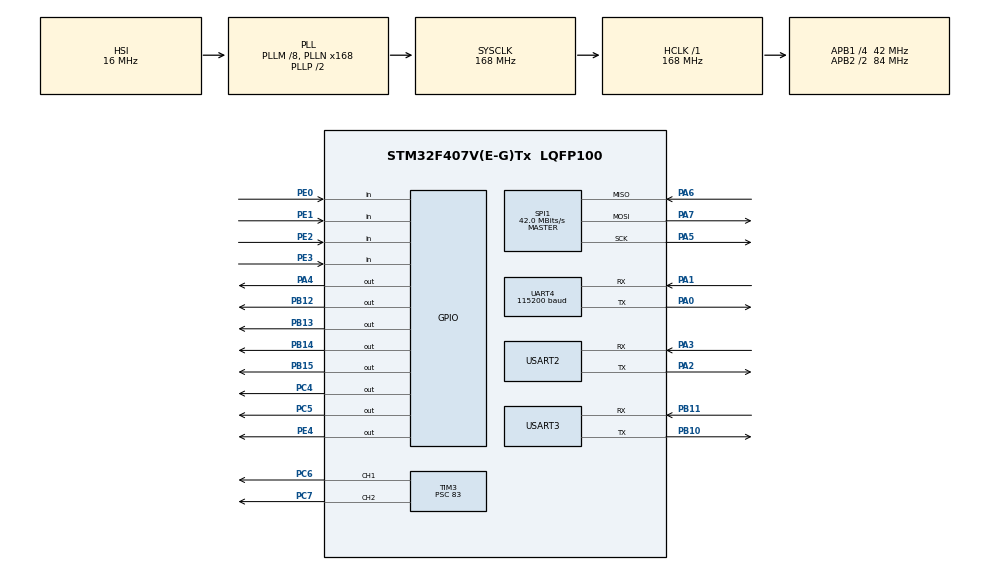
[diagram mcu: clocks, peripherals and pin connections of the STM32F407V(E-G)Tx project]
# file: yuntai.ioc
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Mcu.Family=STM32F4
Mcu.Name=STM32F407V(E-G)Tx
Mcu.Package=LQFP100
NVIC.PriorityGroup=NVIC_PRIORITYGROUP_4
NVIC.TIM1_UP_TIM10_IRQn=true\:0\:0\:false\:false\:true\:true\:true\:true
NVIC.UART4_IRQn=true\:0\:0\:false\:false\:true\:true\:true\:true
PA0-WKUP.Mode=Asynchronous
PA0-WKUP.Signal=UART4_TX
PA1.Mode=Asynchronous
PA1.Signal=UART4_RX
PA13.Mode=Serial_Wire
PA13.Signal=SYS_JTMS-SWDIO
PA14.Mode=Serial_Wire
PA14.Signal=SYS_JTCK-SWCLK
PA2.Mode=Asynchronous
PA2.Signal=USART2_TX
PA3.Mode=Asynchronous
PA3.Signal=USART2_RX
PA4.GPIO_Speed=GPIO_SPEED_FREQ_HIGH
PA4.Signal=GPIO_Output
PA5.Mode=Full_Duplex_Master
PA5.Signal=SPI1_SCK
PA6.Mode=Full_Duplex_Master
PA6.Signal=SPI1_MISO
PA7.Mode=Full_Duplex_Master
PA7.Signal=SPI1_MOSI
PB10.Mode=Asynchronous
PB10.Signal=USART3_TX
PB11.Mode=Asynchronous
PB11.Signal=USART3_RX
PB12.GPIO_Speed=GPIO_SPEED_FREQ_HIGH
PB12.Signal=GPIO_Output
PB13.GPIO_Speed=GPIO_SPEED_FREQ_HIGH
PB13.Signal=GPIO_Output
PB14.GPIO_Speed=GPIO_SPEED_FREQ_HIGH
PB14.Signal=GPIO_Output
PB15.GPIO_Speed=GPIO_SPEED_FREQ_HIGH
PB15.Signal=GPIO_Output
PC4.GPIO_Speed=GPIO_SPEED_FREQ_HIGH
PC4.Signal=GPIO_Output
PC5.GPIO_Speed=GPIO_SPEED_FREQ_HIGH
PC5.Signal=GPIO_Output
PC6.Signal=S_TIM3_CH1
PC7.Signal=S_TIM3_CH2
PE0.GPIO_PuPd=GPIO_PULLUP
PE0.Signal=GPIO_Input
PE1.GPIO_PuPd=GPIO_PULLUP
PE1.Signal=GPIO_Input
PE2.GPIO_PuPd=GPIO_PULLUP
PE2.Signal=GPIO_Input
PE3.GPIO_PuPd=GPIO_PULLUP
PE3.Signal=GPIO_Input
PE4.GPIO_Speed=GPIO_SPEED_FREQ_HIGH
PE4.Signal=GPIO_Output
PH0-OSC_IN.Mode=HSE-External-Oscillator
PH0-OSC_IN.Signal=RCC_OSC_IN
PH1-OSC_OUT.Mode=HSE-External-Oscillator
PH1-OSC_OUT.Signal=RCC_OSC_OUT
ProjectManager.HeapSize=0x200
ProjectManager.StackSize=0x400
ProjectManager.TargetToolchain=MDK-ARM V5.32
RCC.48MHZClocksFreq_Value=84000000
RCC.AHBFreq_Value=168000000
RCC.APB1CLKDivider=RCC_HCLK_DIV4
RCC.APB1Freq_Value=42000000
RCC.APB1TimFreq_Value=84000000
RCC.APB2CLKDivider=RCC_HCLK_DIV2
RCC.APB2Freq_Value=84000000
RCC.APB2TimFreq_Value=168000000
RCC.CortexFreq_Value=168000000
RCC.HCLKFreq_Value=168000000
RCC.HSE_VALUE=8000000
RCC.HSI_VALUE=16000000
RCC.LSE_VALUE=32768
RCC.PLLM=8
RCC.PLLN=168
RCC.SYSCLKFreq_VALUE=168000000
RCC.SYSCLKSource=RCC_SYSCLKSOURCE_PLLCLK
RCC.VCOOutputFreq_Value=336000000
SH.S_TIM3_CH1.0=TIM3_CH1,PWM Generation1 CH1
SH.S_TIM3_CH2.0=TIM3_CH2,PWM Generation2 CH2
SPI1.CalculateBaudRate=42.0 MBits/s
SPI1.Direction=SPI_DIRECTION_2LINES
SPI1.Mode=SPI_MODE_MASTER
SPI1.VirtualType=VM_MASTER
TIM1.AutoReloadPreload=TIM_AUTORELOAD_PRELOAD_ENABLE
TIM1.Period=1000
TIM1.Prescaler=167
TIM3.Channel-PWM\ Generation1\ CH1=TIM_CHANNEL_1
TIM3.Channel-PWM\ Generation2\ CH2=TIM_CHANNEL_2
TIM3.OCFastMode_PWM-PWM\ Generation1\ CH1=TIM_OCFAST_ENABLE
TIM3.OCFastMode_PWM-PWM\ Generation2\ CH2=TIM_OCFAST_ENABLE
TIM3.Prescaler=83
UART4.BaudRate=115200
UART4.VirtualMode=Asynchronous
USART2.VirtualMode=VM_ASYNC
USART3.VirtualMode=VM_ASYNC
VP_TIM1_VS_ClockSourceINT.Mode=Internal
VP_TIM3_VS_ClockSourceINT.Mode=Internal
board=custom

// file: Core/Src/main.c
/* USER CODE BEGIN Header */
/**
  ******************************************************************************
  * @file           : main.c
  * @brief          : Main program body
  ******************************************************************************
  * @attention
  *
  * Copyright (c) 2026 STMicroelectronics.
  * All rights reserved.
  *
  * This software is licensed under terms that can be found in the LICENSE file
  * in the root directory of this software component.
  * If no LICENSE file comes with this software, it is provided AS-IS.
  *
  ******************************************************************************
  */
/* USER CODE END Header */
#include "main.h"

/* USER CODE BEGIN Includes */
#include "ili9341.h"
#include "eum.h"
#include "control.h"
#include "opmv.h"
#include "stdio.h"
#include "task.h"
/* USER CODE END Includes */

SPI_HandleTypeDef hspi1;

TIM_HandleTypeDef htim3;

UART_HandleTypeDef huart2;
UART_HandleTypeDef huart3;

void SystemClock_Config(void);
static void MX_GPIO_Init(void);
static void MX_SPI1_Init(void);
static void MX_UART4_Init(void);
static void MX_USART2_UART_Init(void);
static void MX_USART3_UART_Init(void);
static void MX_TIM1_Init(void);
static void MX_TIM3_Init(void);

int main(void)
{

  /* MCU Configuration--------------------------------------------------------*/

  /* Reset of all peripherals, Initializes the Flash interface and the Systick. */
  HAL_Init();

  /* Configure the system clock */
  SystemClock_Config();

  /* Initialize all configured peripherals */
  MX_GPIO_Init();
  MX_SPI1_Init();
  MX_UART4_Init();
  MX_USART2_UART_Init();
  MX_USART3_UART_Init();
  MX_TIM1_Init();
  MX_TIM3_Init();
  /* USER CODE BEGIN 2 */
  ILI9341_Init();
  ILI9341_SetRotation(ILI9341_ROTATION_180);  // 上下翻转 180°
  ILI9341_FillScreen(ILI9341_COLOR_BLACK);

  TMC2209_Init(TMC_MRES_16);      /* 直接初始化为 1/16 微步 */
  UART_Parse_Init();              /* OpenMV UART 解析初始化 */
  task2_state = T2_FIND;          /* task2 状态机初始状态 */

  /* ---- 开机闪屏 ---- */
  ILI9341_DrawString(0, 0, "Hello, OMO Team!",
                     ILI9341_COLOR_GREEN, ILI9341_COLOR_BLACK, 2);
  HAL_Delay(1000);
  ILI9341_FillScreen(ILI9341_COLOR_BLACK);
  /* USER CODE END 2 */

  /* Infinite loop */
  /* USER CODE BEGIN WHILE */
  while (1)
  {
    show_eum();           /* 菜单显示 */
    eum_task_dispatch();  /* 读取K230最新结果并执行任务调度 */
    show_uart_xy();       /* 底部显示 STM32 实际收到的 X/Y */    /* 主循环约200 Hz，串口新帧更快进入任务 */
  }
  /* USER CODE END 3 */
}

void SystemClock_Config(void)
{
  RCC_OscInitTypeDef RCC_OscInitStruct = {0};
  RCC_ClkInitTypeDef RCC_ClkInitStruct = {0};

  /** Configure the main internal regulator output voltage
  */
  __HAL_RCC_PWR_CLK_ENABLE();
  __HAL_PWR_VOLTAGESCALING_CONFIG(PWR_REGULATOR_VOLTAGE_SCALE1);

  /** Initializes the RCC Oscillators according to the specified parameters
  * in the RCC_OscInitTypeDef structure.
  */
  RCC_OscInitStruct.OscillatorType = RCC_OSCILLATORTYPE_HSI;
  RCC_OscInitStruct.HSIState = RCC_HSI_ON;
  RCC_OscInitStruct.HSICalibrationValue = RCC_HSICALIBRATION_DEFAULT;
  RCC_OscInitStruct.PLL.PLLState = RCC_PLL_ON;
  RCC_OscInitStruct.PLL.PLLSource = RCC_PLLSOURCE_HSI;
  RCC_OscInitStruct.PLL.PLLM = 8;
  RCC_OscInitStruct.PLL.PLLN = 168;
  RCC_OscInitStruct.PLL.PLLP = RCC_PLLP_DIV2;
  RCC_OscInitStruct.PLL.PLLQ = 4;
  if (HAL_RCC_OscConfig(&RCC_OscInitStruct) != HAL_OK)
  {
    Error_Handler();
  }

  /** Initializes the CPU, AHB and APB buses clocks
  */
  RCC_ClkInitStruct.ClockType = RCC_CLOCKTYPE_HCLK|RCC_CLOCKTYPE_SYSCLK
                              |RCC_CLOCKTYPE_PCLK1|RCC_CLOCKTYPE_PCLK2;
  RCC_ClkInitStruct.SYSCLKSource = RCC_SYSCLKSOURCE_PLLCLK;
  RCC_ClkInitStruct.AHBCLKDivider = RCC_SYSCLK_DIV1;
  RCC_ClkInitStruct.APB1CLKDivider = RCC_HCLK_DIV4;
  RCC_ClkInitStruct.APB2CLKDivider = RCC_HCLK_DIV2;

  if (HAL_RCC_ClockConfig(&RCC_ClkInitStruct, FLASH_LATENCY_5) != HAL_OK)
  {
    Error_Handler();
  }
}

static void MX_SPI1_Init(void)
{

  /* SPI1 parameter configuration*/
  hspi1.Instance = SPI1;
  hspi1.Init.Mode = SPI_MODE_MASTER;
  hspi1.Init.Direction = SPI_DIRECTION_2LINES;
  hspi1.Init.DataSize = SPI_DATASIZE_8BIT;
  hspi1.Init.CLKPolarity = SPI_POLARITY_LOW;
  hspi1.Init.CLKPhase = SPI_PHASE_1EDGE;
  hspi1.Init.NSS = SPI_NSS_SOFT;
  hspi1.Init.BaudRatePrescaler = SPI_BAUDRATEPRESCALER_8;
  hspi1.Init.FirstBit = SPI_FIRSTBIT_MSB;
  hspi1.Init.TIMode = SPI_TIMODE_DISABLE;
  hspi1.Init.CRCCalculation = SPI_CRCCALCULATION_DISABLE;
  hspi1.Init.CRCPolynomial = 10;
  if (HAL_SPI_Init(&hspi1) != HAL_OK)
  {
    Error_Handler();
  }

}

static void MX_TIM1_Init(void)
{

  LL_TIM_InitTypeDef TIM_InitStruct = {0};

  /* Peripheral clock enable */
  LL_APB2_GRP1_EnableClock(LL_APB2_GRP1_PERIPH_TIM1);

  /* TIM1 interrupt Init */
  NVIC_SetPriority(TIM1_UP_TIM10_IRQn, NVIC_EncodePriority(NVIC_GetPriorityGrouping(),0, 0));
  NVIC_EnableIRQ(TIM1_UP_TIM10_IRQn);

  TIM_InitStruct.Prescaler = 167;
  TIM_InitStruct.CounterMode = LL_TIM_COUNTERMODE_UP;
  TIM_InitStruct.Autoreload = 1000;
  TIM_InitStruct.ClockDivision = LL_TIM_CLOCKDIVISION_DIV1;
  TIM_InitStruct.RepetitionCounter = 0;
  LL_TIM_Init(TIM1, &TIM_InitStruct);
  LL_TIM_EnableARRPreload(TIM1);
  LL_TIM_SetClockSource(TIM1, LL_TIM_CLOCKSOURCE_INTERNAL);
  LL_TIM_SetTriggerOutput(TIM1, LL_TIM_TRGO_RESET);
  LL_TIM_DisableMasterSlaveMode(TIM1);
  /* USER CODE BEGIN TIM1_Init 2 */
  LL_TIM_EnableCounter(TIM1);
  LL_TIM_EnableIT_UPDATE(TIM1);
  /* USER CODE END TIM1_Init 2 */

}

static void MX_TIM3_Init(void)
{

  TIM_ClockConfigTypeDef sClockSourceConfig = {0};
  TIM_MasterConfigTypeDef sMasterConfig = {0};
  TIM_OC_InitTypeDef sConfigOC = {0};

  htim3.Instance = TIM3;
  htim3.Init.Prescaler = 83;
  htim3.Init.CounterMode = TIM_COUNTERMODE_UP;
  htim3.Init.Period = 65535;
  htim3.Init.ClockDivision = TIM_CLOCKDIVISION_DIV1;
  htim3.Init.AutoReloadPreload = TIM_AUTORELOAD_PRELOAD_DISABLE;
  if (HAL_TIM_Base_Init(&htim3) != HAL_OK)
  {
    Error_Handler();
  }
  sClockSourceConfig.ClockSource = TIM_CLOCKSOURCE_INTERNAL;
  if (HAL_TIM_ConfigClockSource(&htim3, &sClockSourceConfig) != HAL_OK)
  {
    Error_Handler();
  }
  if (HAL_TIM_PWM_Init(&htim3) != HAL_OK)
  {
    Error_Handler();
  }
  sMasterConfig.MasterOutputTrigger = TIM_TRGO_RESET;
  sMasterConfig.MasterSlaveMode = TIM_MASTERSLAVEMODE_DISABLE;
  if (HAL_TIMEx_MasterConfigSynchronization(&htim3, &sMasterConfig) != HAL_OK)
  {
    Error_Handler();
  }
  sConfigOC.OCMode = TIM_OCMODE_PWM1;
  sConfigOC.Pulse = 0;
  sConfigOC.OCPolarity = TIM_OCPOLARITY_HIGH;
  sConfigOC.OCFastMode = TIM_OCFAST_ENABLE;
  if (HAL_TIM_PWM_ConfigChannel(&htim3, &sConfigOC, TIM_CHANNEL_1) != HAL_OK)
  {
    Error_Handler();
  }
  if (HAL_TIM_PWM_ConfigChannel(&htim3, &sConfigOC, TIM_CHANNEL_2) != HAL_OK)
  {
    Error_Handler();
  }
  HAL_TIM_MspPostInit(&htim3);

}

static void MX_UART4_Init(void)
{

  LL_USART_InitTypeDef USART_InitStruct = {0};

  LL_GPIO_InitTypeDef GPIO_InitStruct = {0};

  /* Peripheral clock enable */
  LL_APB1_GRP1_EnableClock(LL_APB1_GRP1_PERIPH_UART4);

  LL_AHB1_GRP1_EnableClock(LL_AHB1_GRP1_PERIPH_GPIOA);
  /**UART4 GPIO Configuration
  PA0-WKUP   ------> UART4_TX
  PA1   ------> UART4_RX
  */
  GPIO_InitStruct.Pin = LL_GPIO_PIN_0|LL_GPIO_PIN_1;
  GPIO_InitStruct.Mode = LL_GPIO_MODE_ALTERNATE;
  GPIO_InitStruct.Speed = LL_GPIO_SPEED_FREQ_VERY_HIGH;
  GPIO_InitStruct.OutputType = LL_GPIO_OUTPUT_PUSHPULL;
  GPIO_InitStruct.Pull = LL_GPIO_PULL_NO;
  GPIO_InitStruct.Alternate = LL_GPIO_AF_8;
  LL_GPIO_Init(GPIOA, &GPIO_InitStruct);

  /* UART4 interrupt Init */
  NVIC_SetPriority(UART4_IRQn, NVIC_EncodePriority(NVIC_GetPriorityGrouping(),0, 0));
  NVIC_EnableIRQ(UART4_IRQn);

  USART_InitStruct.BaudRate = 115200;
  USART_InitStruct.DataWidth = LL_USART_DATAWIDTH_8B;
  USART_InitStruct.StopBits = LL_USART_STOPBITS_1;
  USART_InitStruct.Parity = LL_USART_PARITY_NONE;
  USART_InitStruct.TransferDirection = LL_USART_DIRECTION_TX_RX;
  USART_InitStruct.HardwareFlowControl = LL_USART_HWCONTROL_NONE;
  USART_InitStruct.OverSampling = LL_USART_OVERSAMPLING_16;
  LL_USART_Init(UART4, &USART_InitStruct);
  LL_USART_ConfigAsyncMode(UART4);
  LL_USART_Enable(UART4);
  /* USER CODE BEGIN UART4_Init 2 */
  LL_USART_EnableIT_RXNE(UART4);
  /* USER CODE END UART4_Init 2 */

}

static void MX_USART2_UART_Init(void)
{

  huart2.Instance = USART2;
  huart2.Init.BaudRate = 115200;
  huart2.Init.WordLength = UART_WORDLENGTH_8B;
  huart2.Init.StopBits = UART_STOPBITS_1;
  huart2.Init.Parity = UART_PARITY_NONE;
  huart2.Init.Mode = UART_MODE_TX_RX;
  huart2.Init.HwFlowCtl = UART_HWCONTROL_NONE;
  huart2.Init.OverSampling = UART_OVERSAMPLING_16;
  if (HAL_UART_Init(&huart2) != HAL_OK)
  {
    Error_Handler();
  }

}

static void MX_USART3_UART_Init(void)
{

  huart3.Instance = USART3;
  huart3.Init.BaudRate = 115200;
  huart3.Init.WordLength = UART_WORDLENGTH_8B;
  huart3.Init.StopBits = UART_STOPBITS_1;
  huart3.Init.Parity = UART_PARITY_NONE;
  huart3.Init.Mode = UART_MODE_TX_RX;
  huart3.Init.HwFlowCtl = UART_HWCONTROL_NONE;
  huart3.Init.OverSampling = UART_OVERSAMPLING_16;
  if (HAL_UART_Init(&huart3) != HAL_OK)
  {
    Error_Handler();
  }

}

static void MX_GPIO_Init(void)
{
  LL_GPIO_InitTypeDef GPIO_InitStruct = {0};

  /* GPIO Ports Clock Enable */
  LL_AHB1_GRP1_EnableClock(LL_AHB1_GRP1_PERIPH_GPIOE);
  LL_AHB1_GRP1_EnableClock(LL_AHB1_GRP1_PERIPH_GPIOH);
  LL_AHB1_GRP1_EnableClock(LL_AHB1_GRP1_PERIPH_GPIOA);
  LL_AHB1_GRP1_EnableClock(LL_AHB1_GRP1_PERIPH_GPIOC);
  LL_AHB1_GRP1_EnableClock(LL_AHB1_GRP1_PERIPH_GPIOB);

  /**/
  LL_GPIO_ResetOutputPin(GPIOE, LL_GPIO_PIN_4);

  /**/
  LL_GPIO_ResetOutputPin(GPIOA, LL_GPIO_PIN_4);

  /**/
  LL_GPIO_ResetOutputPin(GPIOC, LL_GPIO_PIN_4|LL_GPIO_PIN_5);

  /**/
  LL_GPIO_ResetOutputPin(GPIOB, LL_GPIO_PIN_12|LL_GPIO_PIN_13|LL_GPIO_PIN_14|LL_GPIO_PIN_15);

  /**/
  GPIO_InitStruct.Pin = LL_GPIO_PIN_2|LL_GPIO_PIN_3|LL_GPIO_PIN_0|LL_GPIO_PIN_1;
  GPIO_InitStruct.Mode = LL_GPIO_MODE_INPUT;
  GPIO_InitStruct.Pull = LL_GPIO_PULL_UP;
  LL_GPIO_Init(GPIOE, &GPIO_InitStruct);

  /**/
  GPIO_InitStruct.Pin = LL_GPIO_PIN_4;
  GPIO_InitStruct.Mode = LL_GPIO_MODE_OUTPUT;
  GPIO_InitStruct.Speed = LL_GPIO_SPEED_FREQ_HIGH;
  GPIO_InitStruct.OutputType = LL_GPIO_OUTPUT_PUSHPULL;
  GPIO_InitStruct.Pull = LL_GPIO_PULL_NO;
  LL_GPIO_Init(GPIOE, &GPIO_InitStruct);

  /**/
  GPIO_InitStruct.Pin = LL_GPIO_PIN_4;
  GPIO_InitStruct.Mode = LL_GPIO_MODE_OUTPUT;
  GPIO_InitStruct.Speed = LL_GPIO_SPEED_FREQ_HIGH;
  GPIO_InitStruct.OutputType = LL_GPIO_OUTPUT_PUSHPULL;
  GPIO_InitStruct.Pull = LL_GPIO_PULL_NO;
  LL_GPIO_Init(GPIOA, &GPIO_InitStruct);

  /**/
  GPIO_InitStruct.Pin = LL_GPIO_PIN_4|LL_GPIO_PIN_5;
  GPIO_InitStruct.Mode = LL_GPIO_MODE_OUTPUT;
  GPIO_InitStruct.Speed = LL_GPIO_SPEED_FREQ_HIGH;
  GPIO_InitStruct.OutputType = LL_GPIO_OUTPUT_PUSHPULL;
  GPIO_InitStruct.Pull = LL_GPIO_PULL_NO;
  LL_GPIO_Init(GPIOC, &GPIO_InitStruct);

  /**/
  GPIO_InitStruct.Pin = LL_GPIO_PIN_12|LL_GPIO_PIN_13|LL_GPIO_PIN_14|LL_GPIO_PIN_15;
  GPIO_InitStruct.Mode = LL_GPIO_MODE_OUTPUT;
  GPIO_InitStruct.Speed = LL_GPIO_SPEED_FREQ_HIGH;
  GPIO_InitStruct.OutputType = LL_GPIO_OUTPUT_PUSHPULL;
  GPIO_InitStruct.Pull = LL_GPIO_PULL_NO;
  LL_GPIO_Init(GPIOB, &GPIO_InitStruct);

}

void Error_Handler(void)
{
  __disable_irq();
  while (1)
  {
  }
}
